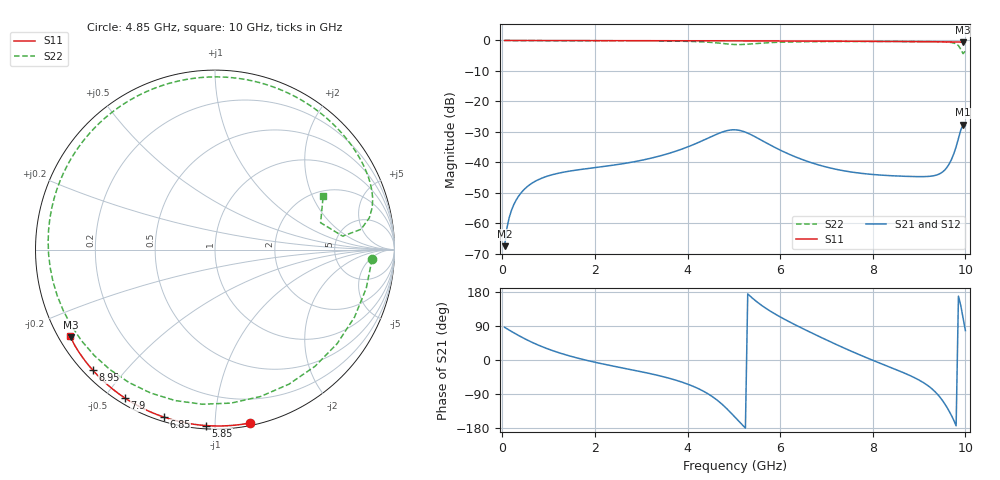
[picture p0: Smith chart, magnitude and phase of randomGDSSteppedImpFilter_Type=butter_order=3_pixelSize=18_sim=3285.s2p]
! freq	dB(S11)	phase(S11)	dB(S12)	phase(S12)
!  dB(S21)	phase(S21)	dB(S22)	phase(S22)
!S-par simulation data
#  GHz  S  DB  R 50
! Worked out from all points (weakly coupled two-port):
!   200 points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, 50 MHz to 10 GHz, reference 50 ohm
!   highest |S21| = -27.65 dB at 9.95 GHz (marker M1); lowest = -67.5 dB at 50 MHz (marker M2)
!   lowest |S11| = -0.6 dB at 9.95 GHz (marker M3), VSWR 30.91, Z = 1.74 - j14 ohm
!   |S11| at or under -10 dB: nowhere
!   |S22| runs from -4.3 to 0.0 dB; largest |S21 - S12| = 0
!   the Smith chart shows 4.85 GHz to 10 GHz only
!   S11 on the Smith chart (normalised r, x): 4.85 GHz: 0.02, -1.22; 5.85 GHz: 0.02, -0.95; 6.85 GHz: 0.02, -0.74; 7.9 GHz: 0.02, -0.56; 8.95 GHz: 0.03, -0.41; 10 GHz: 0.03, -0.28
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0.05  -0.00 -0.9  -67.55 86.2  -67.55 86.2  -0.00 -6.6
0.25  -0.01 -4.3  -53.86 71.7  -53.86 71.7  -0.04 -32.1
0.7  -0.02 -12.0  -46.32 43.4  -46.32 43.4  -0.09 -81.4
1.75  -0.04 -29.7  -42.24 1.2  -42.24 1.2  -0.11 -152.3
2.55  -0.06 -42.9  -40.60 -19.9  -40.60 -19.9  -0.12 172.6
3.4  -0.08 -56.4  -37.94 -41.8  -37.94 -41.8  -0.17 136.9
4.35  -0.10 -71.1  -32.72 -82.8  -32.72 -82.8  -0.48 74.0
4.6  -0.11 -74.8  -30.99 -102.2  -30.99 -102.2  -0.75 42.4
4.85  -0.12 -78.6  -29.62 -128.7  -29.62 -128.7  -1.14 -3.4
5.05  -0.13 -81.5  -29.36 -154.3  -29.36 -154.3  -1.35 -49.4
5.25  -0.14 -84.4  -30.12 -179.7  -30.12 -179.7  -1.27 -94.7
5.45  -0.15 -87.3  -31.55 158.2  -31.55 158.2  -1.03 -131.1
5.85  -0.16 -93.0  -34.85 124.3  -34.85 124.3  -0.65 -178.4
6.7  -0.21 -104.9  -40.27 70.3  -40.27 70.3  -0.40 130.0
6.85  -0.21 -107.0  -40.96 61.6  -40.96 61.6  -0.38 123.5
7.9  -0.29 -121.2  -43.87 4.3  -43.87 4.3  -0.33 84.0
8.35  -0.33 -127.3  -44.37 -17.9  -44.37 -17.9  -0.33 68.5
8.95  -0.39 -135.3  -44.71 -49.7  -44.71 -49.7  -0.35 47.9
9.55  -0.46 -143.4  -42.62 -114.9  -42.62 -114.9  -0.49 25.4
9.8  -0.50 -146.8  -34.90 -173.6  -34.90 -173.6  -1.13 11.6
9.95  -0.56 -148.7  -27.65 110.8  -27.65 110.8  -4.33 14.3
10  -0.56 -149.2  -27.95 77.6  -27.95 77.6  -3.45 26.3
